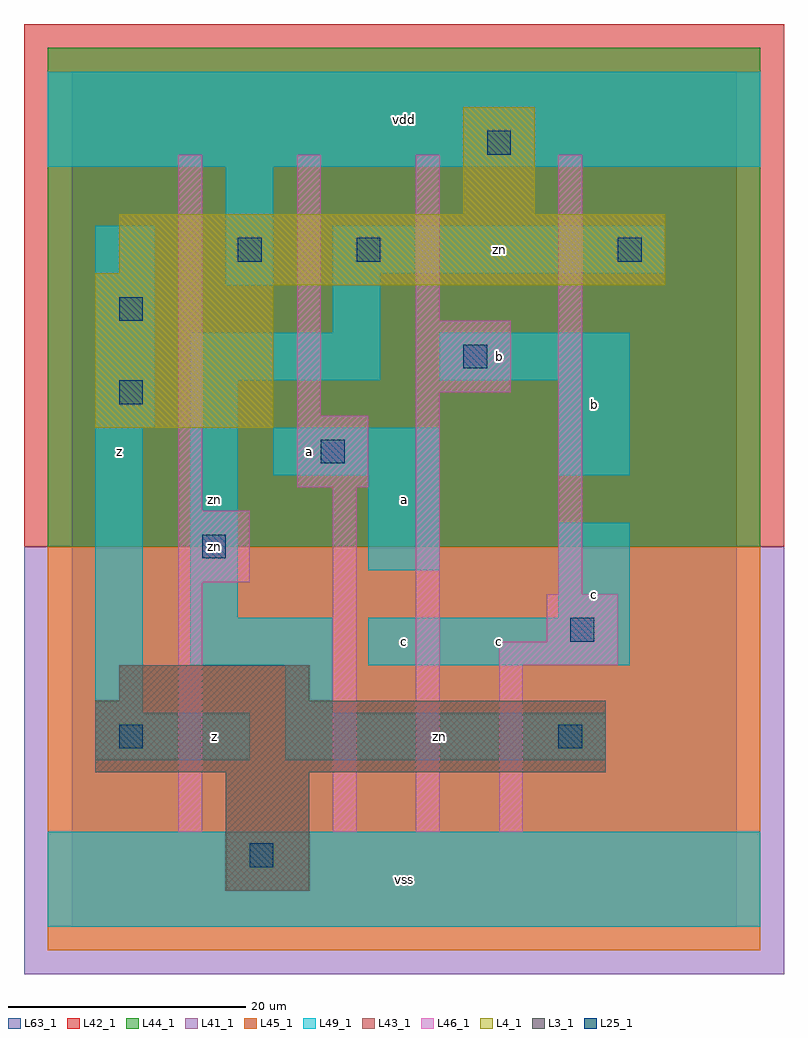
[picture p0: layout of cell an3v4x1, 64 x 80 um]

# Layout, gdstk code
import gdstk
lib = gdstk.Library(unit=1e-6, precision=1e-09)
def R(c, l, rs):  # rectangles x0, y0, x1, y1
    for r in rs: c.add(gdstk.rectangle(r[:2], r[2:], *l))
L3_1 = (3, 1)
L4_1 = (4, 1)
L25_1 = (25, 1)
L41_1 = (41, 1)
L42_1 = (42, 1)
L43_1 = (43, 1)
L44_1 = (44, 1)
L45_1 = (45, 1)
L46_1 = (46, 1)
L49_1 = (49, 1)
L63_1 = (63, 1)

an3v4x1 = lib.new_cell('an3v4x1')
R(an3v4x1, L3_1, [(13,3,20,13), (2,13,45,19), (4,19,20,22)])
R(an3v4x1, L4_1, [(2,42,17,54), (2,54,50,55), (4,55,50,60), (33,60,39,69)])
R(an3v4x1, L25_1, [(15,5,17,7), (4,15,6,17), (41,15,43,17), (42,24,44,26), (11,31,13,33), (21,39,23,41), (4,44,6,46), (33,47,35,49), (4,51,6,53), (14,56,16,58), (24,56,26,58), (46,56,48,58), (35,65,37,67)])
R(an3v4x1, L41_1, [(-4,-4,60,32)])
R(an3v4x1, L42_1, [(-4,32,60,76)])
R(an3v4x1, L43_1, [(13,3,20,13), (2,13,45,19), (4,19,20,22), (2,42,17,54), (2,54,50,55), (4,55,50,60), (33,60,39,69)])
R(an3v4x1, L44_1, [(-2,32,58,74)])
R(an3v4x1, L45_1, [(-2,-2,58,32)])
R(an3v4x1, L46_1, [(9,8,11,29), (22,8,24,37), (29,8,31,45), (36,8,38,22), (36,22,46,24), (40,24,46,28), (41,28,43,65), (9,29,15,35), (9,35,11,65), (19,37,25,43), (19,43,21,65), (29,45,37,51), (29,51,31,65)])
R(an3v4x1, L49_1, [(-2,0,58,8), (2,14,15,18), (18,14,45,18), (2,18,6,42), (18,18,22,22), (10,22,22,26), (25,22,47,26), (10,26,14,46), (41,26,47,34), (25,30,31,38), (17,38,31,42), (41,38,47,46), (2,42,7,59), (10,46,26,50), (31,46,47,50), (22,50,26,55), (13,54,17,64), (22,55,50,59), (-2,64,58,72)])
R(an3v4x1, L63_1, [(0,0,56,72)])
an3v4x1.add(gdstk.Label('zn', (12,32), layer=49, texttype=1))
an3v4x1.add(gdstk.Label('z', (4,40), layer=49, texttype=1))
an3v4x1.add(gdstk.Label('z', (12,16), layer=49, texttype=1))
an3v4x1.add(gdstk.Label('a', (20,40), layer=49, texttype=1))
an3v4x1.add(gdstk.Label('zn', (12,36), layer=49, texttype=1))
an3v4x1.add(gdstk.Label('vss', (28,4), layer=49, texttype=1))
an3v4x1.add(gdstk.Label('c', (28,24), layer=49, texttype=1))
an3v4x1.add(gdstk.Label('c', (36,24), layer=49, texttype=1))
an3v4x1.add(gdstk.Label('a', (28,36), layer=49, texttype=1))
an3v4x1.add(gdstk.Label('b', (36,48), layer=49, texttype=1))
an3v4x1.add(gdstk.Label('vdd', (28,68), layer=49, texttype=1))
an3v4x1.add(gdstk.Label('zn', (31,16), layer=49, texttype=1))
an3v4x1.add(gdstk.Label('c', (44,28), layer=49, texttype=1))
an3v4x1.add(gdstk.Label('b', (44,44), layer=49, texttype=1))
an3v4x1.add(gdstk.Label('zn', (36,57), layer=49, texttype=1))

lib.write_gds('an3v4x1.gds')
